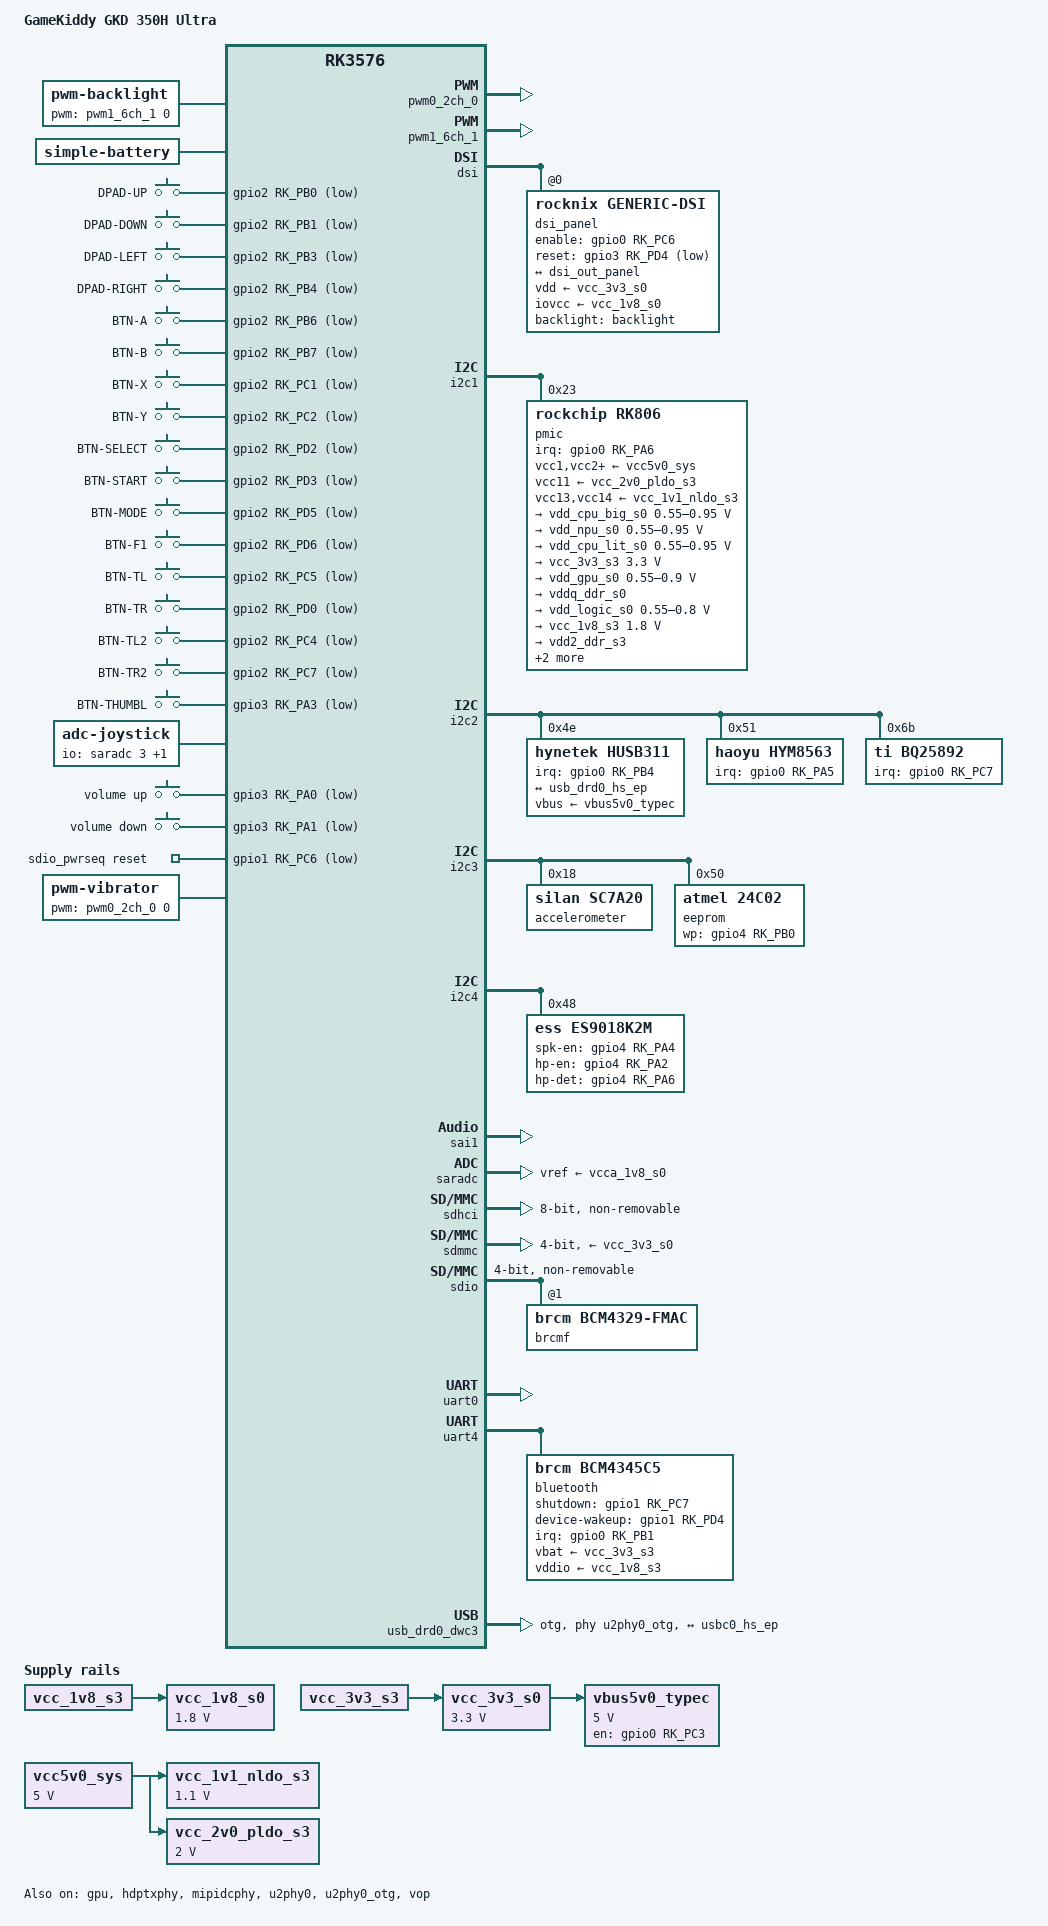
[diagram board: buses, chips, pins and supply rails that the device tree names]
// SPDX-License-Identifier: (GPL-2.0+ OR MIT)
/*
 * GameKiddy GKD 350H Ultra (Rockchip RK3576S)
 *
 * Mainline device tree for ROCKNIX's mainline kernel. Derived from the
 * vendor (Rockchip BSP 6.1) device tree, laid out after ROCKNIX's
 * rk3576-anbernic-rg-vita-pro.dts.
 *
 * First milestone: boots, logs to the SD card, panel lights, input works.
 * Everything else is present but untested.
 *
 * Markers:
 *   unverified - guessed or adapted, not confirmed against hardware/stock
 *   TODO       - stock has something not mapped yet; stock value given
 */

/dts-v1/;

#include <dt-bindings/gpio/gpio.h>
#include <dt-bindings/input/linux-event-codes.h>
#include <dt-bindings/pinctrl/rockchip.h>
#include <dt-bindings/pwm/pwm.h>
#include <dt-bindings/soc/rockchip,vop2.h>
#include <dt-bindings/usb/pd.h>

#include "rk3576.dtsi"

/ {
	model = "GameKiddy GKD 350H Ultra";
	chassis-type = "handset";
	compatible = "gamekiddy,gkd-350h-ultra", "rockchip,rk3576";

	aliases {
		mmc0 = &sdhci;
		mmc1 = &sdmmc;
		mmc2 = &sdio;
	};

	chosen {
		/* stock fiq-debugger: serial-id 0 (uart0m0), 1500000 baud */
		stdout-path = "serial0:1500000n8";
	};

	/*
	 * TODO: stock reserves a 256 MiB CMA pool (linux,cma, 4 MiB aligned);
	 * left to the kernel cmdline / defconfig here.
	 */

	backlight: backlight {
		compatible = "pwm-backlight";
		/* stock: pwm@2add1000 (PWM1 ch1), 25000 ns, inverted */
		pwms = <&pwm1_6ch_1 0 25000 PWM_POLARITY_INVERTED>;
		/*
		 * Stock table is 0, then 40 x 40, then 41..255. Level 0 turns
		 * the backlight off; 1..215 interpolate 40..255.
		 */
		brightness-levels = <40 255>;
		num-interpolated-steps = <215>;
		/* stock default 190/255 */
		default-brightness-level = <150>;
	};

	battery: battery {
		compatible = "simple-battery";
		charge-full-design-microamp-hours = <5000000>;
		/* 5000 mAh x 3.7 V nominal */
		energy-full-design-microwatt-hours = <18500000>;
		/* stock bq25892 ti,battery-regulation-voltage */
		constant-charge-voltage-max-microvolt = <4400000>;
		voltage-max-design-microvolt = <4400000>;
		voltage-min-design-microvolt = <3000000>; /* unverified */
		/* stock bq25892 charge/precharge/termination currents */
		constant-charge-current-max-microamp = <3100000>;
		precharge-current-microamp = <130000>;
		charge-term-current-microamp = <66000>;
	};

	/*
	 * Gamepad. Stock uses a custom "gamekiddy-joypad" driver (gpio buttons
	 * plus two saradc channels for the single stick). Mainline splits it
	 * into gpio-keys and adc-joystick; ROCKNIX would usually merge the two
	 * into one virtual pad with inputplumber.
	 * Stock identity: name "gkd_atom_joypad", vendor 0x0001,
	 * product 0x2103, version 0x0100.
	 */
	gamepad_keys: gamepad-keys {
		compatible = "gpio-keys";
		pinctrl-names = "default";
		pinctrl-0 = <&btn_pins>;

		button-dpad-up {
			label = "DPAD-UP";
			gpios = <&gpio2 RK_PB0 GPIO_ACTIVE_LOW>;
			linux,code = <BTN_DPAD_UP>;
		};

		button-dpad-down {
			label = "DPAD-DOWN";
			gpios = <&gpio2 RK_PB1 GPIO_ACTIVE_LOW>;
			linux,code = <BTN_DPAD_DOWN>;
		};

		button-dpad-left {
			label = "DPAD-LEFT";
			gpios = <&gpio2 RK_PB3 GPIO_ACTIVE_LOW>;
			linux,code = <BTN_DPAD_LEFT>;
		};

		button-dpad-right {
			label = "DPAD-RIGHT";
			gpios = <&gpio2 RK_PB4 GPIO_ACTIVE_LOW>;
			linux,code = <BTN_DPAD_RIGHT>;
		};

		button-a {
			label = "BTN-A";
			gpios = <&gpio2 RK_PB6 GPIO_ACTIVE_LOW>;
			linux,code = <BTN_EAST>;
		};

		button-b {
			label = "BTN-B";
			gpios = <&gpio2 RK_PB7 GPIO_ACTIVE_LOW>;
			linux,code = <BTN_SOUTH>;
		};

		button-x {
			label = "BTN-X";
			gpios = <&gpio2 RK_PC1 GPIO_ACTIVE_LOW>;
			linux,code = <BTN_NORTH>;
		};

		button-y {
			label = "BTN-Y";
			gpios = <&gpio2 RK_PC2 GPIO_ACTIVE_LOW>;
			linux,code = <BTN_WEST>;
		};

		button-select {
			label = "BTN-SELECT";
			gpios = <&gpio2 RK_PD2 GPIO_ACTIVE_LOW>;
			linux,code = <BTN_SELECT>;
		};

		button-start {
			label = "BTN-START";
			gpios = <&gpio2 RK_PD3 GPIO_ACTIVE_LOW>;
			linux,code = <BTN_START>;
		};

		/* stock label "BTN_F" */
		button-mode {
			label = "BTN-MODE";
			gpios = <&gpio2 RK_PD5 GPIO_ACTIVE_LOW>;
			linux,code = <BTN_MODE>;
		};

		/* stock label "F1" */
		button-f1 {
			label = "BTN-F1";
			gpios = <&gpio2 RK_PD6 GPIO_ACTIVE_LOW>;
			linux,code = <BTN_TRIGGER_HAPPY1>;
		};

		button-l1 {
			label = "BTN-TL";
			gpios = <&gpio2 RK_PC5 GPIO_ACTIVE_LOW>;
			linux,code = <BTN_TL>;
		};

		button-r1 {
			label = "BTN-TR";
			gpios = <&gpio2 RK_PD0 GPIO_ACTIVE_LOW>;
			linux,code = <BTN_TR>;
		};

		button-l2 {
			label = "BTN-TL2";
			gpios = <&gpio2 RK_PC4 GPIO_ACTIVE_LOW>;
			linux,code = <BTN_TL2>;
		};

		button-r2 {
			label = "BTN-TR2";
			gpios = <&gpio2 RK_PC7 GPIO_ACTIVE_LOW>;
			linux,code = <BTN_TR2>;
		};

		button-thumbl {
			label = "BTN-THUMBL";
			gpios = <&gpio3 RK_PA3 GPIO_ACTIVE_LOW>;
			linux,code = <BTN_THUMBL>;
		};
	};

	/*
	 * Stock: io-channels saradc 3 (joy1_x) and 4 (joy1_y),
	 * button-adc-x/y-range 1800 (reported -900..899), scale 2,
	 * deadzone 20, fuzz 32, flat 32, poll 10 ms.
	 * adc-joystick reports raw 12-bit saradc counts instead of a centred
	 * value, so the stock -900..899 cannot be used as-is. The stock driver
	 * reads millivolts (1.8 V vref), multiplies by its scale of 2 and clamps
	 * to +-900 around the boot-time centre, i.e. full deflection is about
	 * +-450 mV = +-1024 counts around mid-scale.
	 */
	joystick: adc-joystick {
		compatible = "adc-joystick";
		io-channels = <&saradc 3>, <&saradc 4>;
		poll-interval = <10>;
		#address-cells = <1>;
		#size-cells = <0>;

		axis@0 {
			reg = <0>;
			linux,code = <ABS_X>;
			/* unverified: centred estimate; TODO: axis direction (swap to invert) */
			abs-range = <1024 3072>;
			abs-fuzz = <32>;
			abs-flat = <32>;
		};

		axis@1 {
			reg = <1>;
			linux,code = <ABS_Y>;
			/* unverified: centred estimate; TODO: axis direction (swap to invert) */
			abs-range = <1024 3072>;
			abs-fuzz = <32>;
			abs-flat = <32>;
		};
	};

	gpio_keys: gpio-keys {
		compatible = "gpio-keys";
		autorepeat;
		pinctrl-names = "default";
		pinctrl-0 = <&volume_gpio>;

		vol-up-key {
			gpios = <&gpio3 RK_PA0 GPIO_ACTIVE_LOW>;
			label = "volume up";
			linux,code = <KEY_VOLUMEUP>;
		};

		vol-down-key {
			gpios = <&gpio3 RK_PA1 GPIO_ACTIVE_LOW>;
			label = "volume down";
			linux,code = <KEY_VOLUMEDOWN>;
		};
	};

	/*
	 * The RK3576 PWM controllers are not in rk3576.dtsi yet; these follow
	 * the template (ROCKNIX rockchip-mfpwm + pwm-rockchip-v4 driver).
	 */
	pwm0_2ch_0: pwm@27330000 {
		compatible = "rockchip,rk3576-pwm";
		reg = <0x0 0x27330000 0x0 0x1000>;
		interrupts = <GIC_SPI 100 IRQ_TYPE_LEVEL_HIGH>;
		#pwm-cells = <3>;
		pinctrl-names = "default";
		pinctrl-0 = <&pwm0m0_ch0>;
		clocks = <&cru CLK_PMU1PWM>, <&cru PCLK_PMU1PWM>,
			 <&cru CLK_PMU1PWM_OSC>, <&cru CLK_PMU1PWM_RC>;
		clock-names = "pwm", "pclk", "osc", "rc";
		status = "okay";
	};

	pwm1_6ch_1: pwm@2add1000 {
		compatible = "rockchip,rk3576-pwm";
		reg = <0x0 0x2add1000 0x0 0x1000>;
		interrupts = <GIC_SPI 103 IRQ_TYPE_LEVEL_HIGH>;
		#pwm-cells = <3>;
		pinctrl-names = "default";
		pinctrl-0 = <&pwm1m0_ch1>;
		clocks = <&cru CLK_PWM1>, <&cru PCLK_PWM1>,
			 <&cru CLK_OSC_PWM1>, <&cru CLK_RC_PWM1>;
		clock-names = "pwm", "pclk", "osc", "rc";
		status = "okay";
	};

	sdio_pwrseq: sdio-pwrseq {
		compatible = "mmc-pwrseq-simple";
		/*
		 * unverified: stock does not list the 32k clock, but the AP6256
		 * needs LPO and mainline would gate an unused hym8563 CLKOUT.
		 * Same wiring as the Rockchip reference (ArmSoM Sige5).
		 */
		clocks = <&hym8563>;
		clock-names = "ext_clock";
		pinctrl-names = "default";
		pinctrl-0 = <&wifi_poweren_gpio>;
		post-power-on-delay-ms = <200>;
		reset-gpios = <&gpio1 RK_PC6 GPIO_ACTIVE_LOW>;
	};

	/* untested: no ES9018K2M driver in mainline yet */
	sound: sound {
		compatible = "simple-audio-card";
		/* stock: rockchip,multicodecs-card "rockchip-es9018" */
		simple-audio-card,name = "rockchip-es9018";
		simple-audio-card,format = "i2s";
		simple-audio-card,mclk-fs = <256>;
		/*
		 * TODO: stock card also has pre-power-on-delay-ms 30,
		 * post-power-down-delay-ms 40, keyup-threshold-microvolt 1800000,
		 * poll-interval 100 (no io-channels, so no headset keys).
		 */

		simple-audio-card,cpu {
			sound-dai = <&sai1>;
			/* 32-bit slots whatever the sample size: the DAC is set to 32-bit I2S (reg 1). */
			dai-tdm-slot-num = <2>;
			dai-tdm-slot-width = <32>;
		};

		simple-audio-card,codec {
			sound-dai = <&es9018k2m>;
		};
	};

	vbus5v0_typec: regulator-vbus5v0-typec {
		compatible = "regulator-fixed";
		regulator-name = "vbus5v0_typec";
		/*
		 * unverified: stock declares 3.3 V (min/max 3300000) with
		 * vin vcc_3v3_s0, which looks copy-pasted; the switch is
		 * gpio0 PC3 "usb-otg0-pwren", probably the bq25892 OTG pin.
		 */
		regulator-min-microvolt = <5000000>;
		regulator-max-microvolt = <5000000>;
		enable-active-high;
		gpio = <&gpio0 RK_PC3 GPIO_ACTIVE_HIGH>;
		pinctrl-names = "default";
		pinctrl-0 = <&usb_otg0_pwren>;
		vin-supply = <&vcc_3v3_s0>;
	};

	vcc5v0_sys: regulator-vcc5v0-sys {
		compatible = "regulator-fixed";
		regulator-name = "vcc_sys";
		regulator-always-on;
		regulator-boot-on;
		regulator-min-microvolt = <5000000>;
		regulator-max-microvolt = <5000000>;
	};

	vcc_1v1_nldo_s3: regulator-vcc-1v1-nldo-s3 {
		compatible = "regulator-fixed";
		regulator-name = "vcc_1v1_nldo_s3";
		regulator-always-on;
		regulator-boot-on;
		regulator-min-microvolt = <1100000>;
		regulator-max-microvolt = <1100000>;
		vin-supply = <&vcc5v0_sys>;
	};

	vcc_1v8_s0: regulator-vcc-1v8-s0 {
		compatible = "regulator-fixed";
		regulator-name = "vcc_1v8_s0";
		regulator-always-on;
		regulator-boot-on;
		regulator-min-microvolt = <1800000>;
		regulator-max-microvolt = <1800000>;
		vin-supply = <&vcc_1v8_s3>;
	};

	vcc_2v0_pldo_s3: regulator-vcc-2v0-pldo-s3 {
		compatible = "regulator-fixed";
		regulator-name = "vcc_2v0_pldo_s3";
		regulator-always-on;
		regulator-boot-on;
		regulator-min-microvolt = <2000000>;
		regulator-max-microvolt = <2000000>;
		vin-supply = <&vcc5v0_sys>;
	};

	vcc_3v3_s0: regulator-vcc-3v3-s0 {
		compatible = "regulator-fixed";
		regulator-name = "vcc_3v3_s0";
		regulator-always-on;
		regulator-boot-on;
		regulator-min-microvolt = <3300000>;
		regulator-max-microvolt = <3300000>;
		vin-supply = <&vcc_3v3_s3>;
	};

	vibrator: vibrator {
		compatible = "pwm-vibrator";
		/* stock: pwm@27330000 (PWM0 ch0), period 200 ms, normal polarity */
		pwms = <&pwm0_2ch_0 0 200000000 0>;
		pwm-names = "enable";
		/* stock value; only used with a "direction" pwm */
		direction-duty-cycle-ns = <200000000>;
	};
};

&cpu_b0 {
	cpu-supply = <&vdd_cpu_big_s0>;
};

&cpu_b1 {
	cpu-supply = <&vdd_cpu_big_s0>;
};

&cpu_b2 {
	cpu-supply = <&vdd_cpu_big_s0>;
};

&cpu_b3 {
	cpu-supply = <&vdd_cpu_big_s0>;
};

&cpu_l0 {
	cpu-supply = <&vdd_cpu_lit_s0>;
};

&cpu_l1 {
	cpu-supply = <&vdd_cpu_lit_s0>;
};

&cpu_l2 {
	cpu-supply = <&vdd_cpu_lit_s0>;
};

&cpu_l3 {
	cpu-supply = <&vdd_cpu_lit_s0>;
};

&dsi {
	status = "okay";
	#address-cells = <1>;
	#size-cells = <0>;

	dsi_panel: panel@0 {
		compatible = "rocknix,generic-dsi";
		reg = <0>;
		backlight = <&backlight>;
		enable-gpios = <&gpio0 RK_PC6 GPIO_ACTIVE_HIGH>;
		reset-gpios = <&gpio3 RK_PD4 GPIO_ACTIVE_LOW>;
		/* stock also has avrman-te-gpio = gpio4 PA0 (TE, unused here) */
		pinctrl-names = "default";
		pinctrl-0 = <&lcd_en>, <&lcd_rst>, <&lcd_te_gpio>;
		rotation = <270>;
		/*
		 * unverified: stock panel node has no supplies; both of these
		 * are always-on rails, given so the driver gets real regulators.
		 */
		vdd-supply = <&vcc_3v3_s0>;
		iovcc-supply = <&vcc_1v8_s0>;

		/*
		 * G/I lines as importpanel.py would produce them from the stock
		 * panel@0 (prepare 40, reset 60, init 80, enable 60 ms, ready 20;
		 * stock also has stbyb 20, disable 20, unprepare 20 ms, which
		 * this driver has no slot for). M line is our 60 Hz timing
		 * (stock timing0 is 172 MHz, hfp 150). Note the driver parses
		 * "wait=" as hex, so wait=120/40 sleep 288/64 ms (harmless).
		 * The odd 5-byte be01900f39 write is exactly what stock sends.
		 */
		panel_description =
			"G size=135,216 delays=40,60,80,60,20 format=rgb888 lanes=4 flags=0xe03",
			"M clock=169715 horizontal=1440,124,30,120 vertical=1600,30,10,10 default=1",
			"I seq=ff10", "I seq=fb01",
			"I seq=2a0000059f",
			"I seq=2b0000063f",
			"I seq=3500", "I seq=ba07", "I seq=bb13", "I seq=e500",
			"I seq=ff26", "I seq=fb01", "I seq=0200", "I seq=0380",
			"I seq=ff25", "I seq=fb01", "I seq=6260", "I seq=6500",
			"I seq=6607", "I seq=6756",
			"I seq=ffd0", "I seq=fb01", "I seq=0588",
			"I seq=ff10", "I seq=fb01", "I seq=c080",
			"I seq=be01900f39",
			"I seq=11 wait=120",
			"I seq=ff10",
			"I seq=29 wait=40";

		port {
			panel_in_dsi: endpoint {
				remote-endpoint = <&dsi_out_panel>;
			};
		};
	};
};

/* stock routes DSI from VOP video port 0 (route-dsi -> vp0 endpoint@0) */
&dsi_in {
	dsi_in_vp0: endpoint {
		remote-endpoint = <&vp0_out_dsi>;
	};
};

&dsi_out {
	dsi_out_panel: endpoint {
		remote-endpoint = <&panel_in_dsi>;
	};
};

&gpu {
	mali-supply = <&vdd_gpu_s0>;
	/* as in the template; rk3576.dtsi has no resets on the gpu node */
	resets = <&cru SRST_GPU>;
	status = "okay";
};

/*
 * HDMI and DP (USB-C alt mode, stock enables dp@27e40000 on VP2 via
 * the usbdp phy with all 4 lanes) are left disabled for now.
 * hdptxphy is enabled only because the VOP takes it as its
 * "pll_hdmiphy0" clock; with the provider disabled the VOP could defer.
 */
&hdptxphy {
	status = "okay"; /* unverified: may be unnecessary */
};

&i2c1 {
	status = "okay";

	pmic@23 {
		compatible = "rockchip,rk806";
		reg = <0x23>;
		#gpio-cells = <2>;
		gpio-controller;
		interrupt-parent = <&gpio0>;
		interrupts = <RK_PA6 IRQ_TYPE_LEVEL_LOW>;
		pinctrl-names = "default";
		pinctrl-0 = <&pmic_pins
				 &rk806_dvs1_null
				 &rk806_dvs2_null
				 &rk806_dvs3_null>;
		system-power-controller;
		/* stock pmic-reset-func = <1> */
		rockchip,reset-mode = <1>; /* unverified: BSP->mainline value mapping */
		/*
		 * TODO: stock BSP-only props: low_voltage_threshold 3000 mV,
		 * shutdown_voltage_threshold 2700 mV, shutdown_temperture_threshold
		 * 160, hotdie_temperture_threshold 115, pwron-on-time-500ms,
		 * buck5-feedback-disable; pinctrl "pmic-power-off" = dvs1_pwrdn.
		 */
		vcc1-supply = <&vcc5v0_sys>;
		vcc2-supply = <&vcc5v0_sys>;
		vcc3-supply = <&vcc5v0_sys>;
		vcc4-supply = <&vcc5v0_sys>;
		vcc5-supply = <&vcc5v0_sys>;
		vcc6-supply = <&vcc5v0_sys>;
		vcc7-supply = <&vcc5v0_sys>;
		vcc8-supply = <&vcc5v0_sys>;
		vcc9-supply = <&vcc5v0_sys>;
		vcc10-supply = <&vcc5v0_sys>;
		vcc11-supply = <&vcc_2v0_pldo_s3>;
		vcc12-supply = <&vcc5v0_sys>;
		vcc13-supply = <&vcc_1v1_nldo_s3>;
		vcc14-supply = <&vcc_1v1_nldo_s3>;
		vcca-supply = <&vcc5v0_sys>;

		rk806_dvs1_null: dvs1-null-pins {
			/* stock says gpio_pwrctrl2 here (typo); template uses pwrctrl1 */
			pins = "gpio_pwrctrl1";
			function = "pin_fun0";
		};

		rk806_dvs2_null: dvs2-null-pins {
			pins = "gpio_pwrctrl2";
			function = "pin_fun0";
		};

		rk806_dvs3_null: dvs3-null-pins {
			pins = "gpio_pwrctrl3";
			function = "pin_fun0";
		};

		/* stock regulator-init-microvolt values are not mainline props, dropped */
		regulators {
			vdd_cpu_big_s0: dcdc-reg1 {
				regulator-always-on;
				regulator-boot-on;
				regulator-enable-ramp-delay = <400>;
				regulator-min-microvolt = <550000>;
				regulator-max-microvolt = <950000>;
				regulator-name = "vdd_cpu_big_s0";
				regulator-ramp-delay = <12500>;
				regulator-state-mem {
					regulator-off-in-suspend;
				};
			};

			vdd_npu_s0: dcdc-reg2 {
				regulator-boot-on;
				regulator-enable-ramp-delay = <400>;
				regulator-min-microvolt = <550000>;
				regulator-max-microvolt = <950000>;
				regulator-name = "vdd_npu_s0";
				regulator-ramp-delay = <12500>;
				regulator-state-mem {
					regulator-off-in-suspend;
				};
			};

			vdd_cpu_lit_s0: dcdc-reg3 {
				regulator-always-on;
				regulator-boot-on;
				regulator-min-microvolt = <550000>;
				regulator-max-microvolt = <950000>;
				regulator-name = "vdd_cpu_lit_s0";
				regulator-ramp-delay = <12500>;
				regulator-state-mem {
					regulator-off-in-suspend;
					regulator-suspend-microvolt = <750000>;
				};
			};

			vcc_3v3_s3: dcdc-reg4 {
				regulator-always-on;
				regulator-boot-on;
				regulator-min-microvolt = <3300000>;
				regulator-max-microvolt = <3300000>;
				regulator-name = "vcc_3v3_s3";
				regulator-state-mem {
					regulator-on-in-suspend;
					regulator-suspend-microvolt = <3300000>;
				};
			};

			vdd_gpu_s0: dcdc-reg5 {
				/*
				 * Not always-on in stock; kept on as in the template so
				 * PD_GPU never loses its supply before panfrost binds.
				 */
				regulator-always-on;
				regulator-boot-on;
				regulator-enable-ramp-delay = <400>;
				regulator-min-microvolt = <550000>;
				regulator-max-microvolt = <900000>;
				regulator-name = "vdd_gpu_s0";
				regulator-ramp-delay = <12500>;
				regulator-state-mem {
					regulator-off-in-suspend;
					regulator-suspend-microvolt = <850000>;
				};
			};

			vddq_ddr_s0: dcdc-reg6 {
				regulator-always-on;
				regulator-boot-on;
				regulator-name = "vddq_ddr_s0";
				regulator-state-mem {
					regulator-off-in-suspend;
				};
			};

			vdd_logic_s0: dcdc-reg7 {
				regulator-always-on;
				regulator-boot-on;
				regulator-min-microvolt = <550000>;
				regulator-max-microvolt = <800000>;
				regulator-name = "vdd_logic_s0";
				regulator-state-mem {
					/*
					 * stock lists both off- and on-in-suspend;
					 * of_regulator gives on-in-suspend precedence
					 */
					regulator-on-in-suspend;
				};
			};

			vcc_1v8_s3: dcdc-reg8 {
				regulator-always-on;
				regulator-boot-on;
				regulator-min-microvolt = <1800000>;
				regulator-max-microvolt = <1800000>;
				regulator-name = "vcc_1v8_s3";
				regulator-state-mem {
					regulator-on-in-suspend;
					regulator-suspend-microvolt = <1800000>;
				};
			};

			vdd2_ddr_s3: dcdc-reg9 {
				regulator-always-on;
				regulator-boot-on;
				regulator-name = "vdd2_ddr_s3";
				regulator-state-mem {
					regulator-on-in-suspend;
				};
			};

			vdd_ddr_s0: dcdc-reg10 {
				regulator-always-on;
				regulator-boot-on;
				regulator-min-microvolt = <550000>;
				regulator-max-microvolt = <1200000>;
				regulator-name = "vdd_ddr_s0";
				regulator-state-mem {
					regulator-off-in-suspend;
				};
			};

			vcca_1v8_s0: pldo-reg1 {
				regulator-always-on;
				regulator-boot-on;
				regulator-min-microvolt = <1800000>;
				regulator-max-microvolt = <1800000>;
				regulator-name = "vcca_1v8_s0";
				regulator-state-mem {
					/* stock lists both off- and on-in-suspend; on wins */
					regulator-on-in-suspend;
				};
			};

			vcca1v8_pldo2_s0: pldo-reg2 {
				regulator-always-on;
				regulator-boot-on;
				regulator-min-microvolt = <1800000>;
				regulator-max-microvolt = <1800000>;
				regulator-name = "vcca1v8_pldo2_s0";
				regulator-state-mem {
					regulator-off-in-suspend;
				};
			};

			vdda_1v2_s0: pldo-reg3 {
				regulator-always-on;
				regulator-boot-on;
				regulator-min-microvolt = <1200000>;
				regulator-max-microvolt = <1200000>;
				regulator-name = "vdda_1v2_s0";
				regulator-state-mem {
					regulator-off-in-suspend;
				};
			};

			vcca3v3_codec: pldo-reg4 {
				regulator-always-on;
				regulator-boot-on;
				regulator-min-microvolt = <3300000>;
				regulator-max-microvolt = <3300000>;
				regulator-name = "vcca3v3_codec";
				regulator-state-mem {
					regulator-off-in-suspend;
				};
			};

			vccio_sd_s0: pldo-reg5 {
				regulator-always-on;
				regulator-boot-on;
				regulator-min-microvolt = <1800000>;
				regulator-max-microvolt = <3300000>;
				regulator-name = "vccio_sd_s0";
				regulator-state-mem {
					regulator-off-in-suspend;
				};
			};

			vcca1v8_pldo6_s3: pldo-reg6 {
				regulator-always-on;
				regulator-boot-on;
				regulator-min-microvolt = <1800000>;
				regulator-max-microvolt = <1800000>;
				regulator-name = "vcca1v8_pldo6_s3";
				regulator-state-mem {
					regulator-on-in-suspend;
					regulator-suspend-microvolt = <1800000>;
				};
			};

			vdd_0v75_s3: nldo-reg1 {
				regulator-always-on;
				regulator-boot-on;
				regulator-min-microvolt = <750000>;
				regulator-max-microvolt = <750000>;
				regulator-name = "vdd_0v75_s3";
				regulator-state-mem {
					regulator-on-in-suspend;
					regulator-suspend-microvolt = <750000>;
				};
			};

			vdda_ddr_pll_s0: nldo-reg2 {
				regulator-always-on;
				regulator-boot-on;
				regulator-min-microvolt = <850000>;
				regulator-max-microvolt = <850000>;
				regulator-name = "vdda_ddr_pll_s0";
				regulator-state-mem {
					regulator-off-in-suspend;
				};
			};

			/* stock runs this "0v75" rail at 837.5 mV */
			vdda0v75_hdmi_s0: nldo-reg3 {
				regulator-always-on;
				regulator-boot-on;
				regulator-min-microvolt = <837500>;
				regulator-max-microvolt = <837500>;
				regulator-name = "vdda0v75_hdmi_s0";
				regulator-state-mem {
					regulator-off-in-suspend;
				};
			};

			vdda_0v85_s0: nldo-reg4 {
				regulator-always-on;
				regulator-boot-on;
				regulator-min-microvolt = <850000>;
				regulator-max-microvolt = <850000>;
				regulator-name = "vdda_0v85_s0";
				regulator-state-mem {
					regulator-off-in-suspend;
				};
			};

			vdda_0v75_s0: nldo-reg5 {
				regulator-always-on;
				regulator-boot-on;
				regulator-min-microvolt = <750000>;
				regulator-max-microvolt = <750000>;
				regulator-name = "vdda_0v75_s0";
				regulator-state-mem {
					regulator-off-in-suspend;
				};
			};
		};
	};
};

&i2c2 {
	status = "okay";

	/* TODO: stock has a "shunwei,sh366103" fuel gauge at 0x55; no mainline driver */

	husb311: typec-port@4e {
		compatible = "hynetek,husb311", "richtek,rt1711h";
		reg = <0x4e>;
		interrupt-parent = <&gpio0>;
		interrupts = <RK_PB4 IRQ_TYPE_LEVEL_LOW>;
		pinctrl-names = "default";
		pinctrl-0 = <&usbc0_int>;
		vbus-supply = <&vbus5v0_typec>;

		/* untested */
		connector {
			compatible = "usb-c-connector";
			label = "USB-C";
			data-role = "dual";
			power-role = "dual";
			try-power-role = "sink";
			/* stock value: 1 W */
			op-sink-microwatt = <1000000>;
			sink-pdos = <PDO_FIXED(5000, 3000, PDO_FIXED_USB_COMM)
				     PDO_FIXED(9000, 3000, PDO_FIXED_USB_COMM)
				     PDO_FIXED(12000, 3000, PDO_FIXED_USB_COMM)>;
			source-pdos = <PDO_FIXED(5000, 3000, PDO_FIXED_USB_COMM)>;

			/*
			 * TODO: stock advertises DP alt mode (svid 0xff01,
			 * vdo 0xffffffff) and wires connector port@0/@1 to the
			 * usbdp phy (orientation-switch, sbu1/2-dc gpio4 PC4/PC5,
			 * dp-lane-mux 0 1 2 3, maximum-speed high-speed). Add the
			 * altmodes node, port@1/@2 and &usbdp_phy with DP.
			 */

			ports {
				#address-cells = <1>;
				#size-cells = <0>;

				port@0 {
					reg = <0>;
					usbc0_hs_ep: endpoint {
						remote-endpoint = <&usb_drd0_hs_ep>;
					};
				};

				/* SS lanes: go to the usbdp phy (DP alt mode); TODO above */
				port@1 {
					reg = <1>;
				};
			};
		};
	};

	hym8563: rtc@51 {
		compatible = "haoyu,hym8563";
		reg = <0x51>;
		#clock-cells = <0>;
		clock-output-names = "hym8563";
		interrupt-parent = <&gpio0>;
		interrupts = <RK_PA5 IRQ_TYPE_LEVEL_LOW>;
		pinctrl-names = "default";
		pinctrl-0 = <&hym8563_int>;
		wakeup-source;
		/* TODO: stock clock-frequency = <32768> (not in the mainline binding) */
	};

	/* untested */
	bq25892: charger@6b {
		compatible = "ti,bq25892", "ti,bq25890";
		reg = <0x6b>;
		interrupt-parent = <&gpio0>;
		interrupts = <RK_PC7 IRQ_TYPE_EDGE_FALLING>;
		pinctrl-names = "default";
		pinctrl-0 = <&bq25890_irq>;
		monitored-battery = <&battery>;
		ti,battery-regulation-voltage = <4400000>;
		ti,charge-current = <3100000>;
		ti,termination-current = <66000>;
		ti,precharge-current = <130000>;
		ti,minimum-sys-voltage = <3500000>;
		ti,boost-voltage = <5200000>;
		ti,boost-max-current = <1600000>;
	};
};

&i2c3 {
	status = "okay";

	/* untested; stock: gs_sc7a20, polled (irq_enable 0), irq gpio4 PB3 */
	accelerometer@18 {
		compatible = "silan,sc7a20";
		reg = <0x18>;
		pinctrl-names = "default";
		pinctrl-0 = <&sensor_gpio>;
		/* TODO: stock layout = <1>; translate to a mount-matrix */
	};

	/* untested */
	eeprom@50 {
		compatible = "atmel,24c02";
		reg = <0x50>;
		pinctrl-names = "default";
		pinctrl-0 = <&eeprom_wp_gpio>;
		wp-gpios = <&gpio4 RK_PB0 GPIO_ACTIVE_HIGH>;
	};
};

&i2c4 {
	pinctrl-names = "default";
	pinctrl-0 = <&i2c4m3_xfer>;
	status = "okay";

	/* BasedOS's driver (tools/mainline/drivers/es9018k2m.c). */
	es9018k2m: audio-codec@48 {
		compatible = "ess,es9018k2m";
		reg = <0x48>;
		#sound-dai-cells = <0>;
		/*
		 * Stock's avrman-spk-con, avrman-hp-con and avrman-hp-det. On stock with no
		 * headphones: hp-det reads low, spk-con is driven high, hp-con low.
		 */
		spk-en-gpios = <&gpio4 RK_PA4 GPIO_ACTIVE_HIGH>;
		hp-en-gpios = <&gpio4 RK_PA2 GPIO_ACTIVE_HIGH>;
		hp-det-gpios = <&gpio4 RK_PA6 GPIO_ACTIVE_HIGH>;
	};
};

&mipidcphy {
	status = "okay";
};

&pinctrl {
	bluetooth {
		bt_reg_on: bt-reg-on {
			rockchip,pins = <1 RK_PC7 RK_FUNC_GPIO &pcfg_pull_none>; /* unverified pull */
		};

		bt_wake: bt-wake {
			rockchip,pins = <1 RK_PD4 RK_FUNC_GPIO &pcfg_pull_none>; /* unverified pull */
		};

		bt_wake_host_irq: bt-wake-host-irq {
			rockchip,pins = <0 RK_PB1 RK_FUNC_GPIO &pcfg_pull_down>; /* unverified pull */
		};
	};

	btns {
		btn_pins: btn-pins {
			rockchip,pins =
				<2 RK_PB0 RK_FUNC_GPIO &pcfg_pull_up>,
				<2 RK_PB1 RK_FUNC_GPIO &pcfg_pull_up>,
				<2 RK_PB3 RK_FUNC_GPIO &pcfg_pull_up>,
				<2 RK_PB4 RK_FUNC_GPIO &pcfg_pull_up>,
				<2 RK_PB6 RK_FUNC_GPIO &pcfg_pull_up>,
				<2 RK_PB7 RK_FUNC_GPIO &pcfg_pull_up>,
				<2 RK_PC1 RK_FUNC_GPIO &pcfg_pull_up>,
				<2 RK_PC2 RK_FUNC_GPIO &pcfg_pull_up>,
				<2 RK_PD5 RK_FUNC_GPIO &pcfg_pull_up>,
				<2 RK_PD6 RK_FUNC_GPIO &pcfg_pull_up>,
				<2 RK_PD3 RK_FUNC_GPIO &pcfg_pull_up>,
				<2 RK_PD2 RK_FUNC_GPIO &pcfg_pull_up>,
				<2 RK_PC4 RK_FUNC_GPIO &pcfg_pull_up>,
				<2 RK_PC5 RK_FUNC_GPIO &pcfg_pull_up>,
				<2 RK_PC7 RK_FUNC_GPIO &pcfg_pull_up>,
				<2 RK_PD0 RK_FUNC_GPIO &pcfg_pull_up>,
				<3 RK_PA3 RK_FUNC_GPIO &pcfg_pull_up>;
		};
	};

	eeprom {
		eeprom_wp_gpio: eeprom-wp-gpio {
			rockchip,pins = <4 RK_PB0 RK_FUNC_GPIO &pcfg_pull_up>;
		};
	};

	hym8563 {
		hym8563_int: hym8563-int {
			rockchip,pins = <0 RK_PA5 RK_FUNC_GPIO &pcfg_pull_up>;
		};
	};

	keys {
		volume_gpio: volume-gpio {
			rockchip,pins =
				<3 RK_PA0 RK_FUNC_GPIO &pcfg_pull_up>,
				<3 RK_PA1 RK_FUNC_GPIO &pcfg_pull_up>;
		};
	};

	lcd {
		lcd_en: lcd-en {
			rockchip,pins = <0 RK_PC6 RK_FUNC_GPIO &pcfg_pull_none>; /* unverified pull */
		};

		lcd_rst: lcd-rst {
			rockchip,pins = <3 RK_PD4 RK_FUNC_GPIO &pcfg_pull_none>; /* unverified pull */
		};

		lcd_te_gpio: lcd-te-gpio {
			rockchip,pins = <4 RK_PA0 RK_FUNC_GPIO &pcfg_pull_down>;
		};
	};

	sensor {
		sensor_gpio: sensor-gpio {
			rockchip,pins = <4 RK_PB3 RK_FUNC_GPIO &pcfg_pull_down>;
		};
	};

	usb {
		bq25890_irq: bq25890-irq {
			rockchip,pins = <0 RK_PC7 RK_FUNC_GPIO &pcfg_pull_up>;
		};

		usbc0_int: usbc0-int {
			rockchip,pins = <0 RK_PB4 RK_FUNC_GPIO &pcfg_pull_up>;
		};

		usb_otg0_pwren: usb-otg0-pwren {
			rockchip,pins = <0 RK_PC3 RK_FUNC_GPIO &pcfg_pull_down>;
		};
	};

	wireless-wlan {
		wifi_host_wake_irq: wifi-host-wake-irq {
			rockchip,pins = <0 RK_PB0 RK_FUNC_GPIO &pcfg_pull_down>;
		};

		wifi_poweren_gpio: wifi-poweren-gpio {
			rockchip,pins = <1 RK_PC6 RK_FUNC_GPIO &pcfg_pull_up>;
		};
	};
};

/* stock es9018-sound card's rockchip,cpu is sai@2a610000 = SAI1, on its m1 pins */
&sai1 {
	pinctrl-names = "default";
	pinctrl-0 = <&sai1m1_lrck
		     &sai1m1_sclk
		     &sai1m1_sdo0>;
	status = "okay";
};

&saradc {
	vref-supply = <&vcca_1v8_s0>;
	status = "okay";
};

&sdhci {
	bus-width = <8>;
	full-pwr-cycle-in-suspend;
	mmc-hs400-1_8v;
	mmc-hs400-enhanced-strobe;
	no-sd;
	no-sdio;
	non-removable;
	status = "okay";
};

/*
 * SD card. Default pinctrl from rk3576.dtsi matches stock: native card
 * detect (sdmmc0_det, gpio0 PA7) and the controller-driven power switch
 * (sdmmc0_pwren, gpio0 PB6).
 */
&sdmmc {
	bus-width = <4>;
	cap-mmc-highspeed;
	cap-sd-highspeed;
	disable-wp;
	max-frequency = <150000000>;
	no-mmc;
	no-sdio;
	sd-uhs-sdr50;
	sd-uhs-sdr104;
	vmmc-supply = <&vcc_3v3_s0>;
	vqmmc-supply = <&vccio_sd_s0>;
	status = "okay";
};

/* SDIO Wi-Fi: stock wifi_chip_type "ap6256" (BCM43456) */
&sdio {
	#address-cells = <1>;
	#size-cells = <0>;
	bus-width = <4>;
	cap-sd-highspeed;
	cap-sdio-irq;
	disable-wp;
	keep-power-in-suspend;
	max-frequency = <200000000>;
	mmc-pwrseq = <&sdio_pwrseq>;
	no-mmc;
	no-sd;
	non-removable;
	sd-uhs-sdr50;
	/* TODO: stock gives sdio no vmmc/vqmmc supply (sige5 uses vcc_3v3_s3/vcc_1v8_s3) */
	status = "okay";

	/* untested */
	/*
	 * In-band SDIO interrupts (cap-sdio-irq). With the out-of-band host-wake line (gpio0 PB0,
	 * level high, as stock) firmware events reached the host late or not at all: wpa_supplicant
	 * timed out on authentication, then saw "Associated" late, and pings mostly went unanswered.
	 * Stock's host-wake: gpio0 PB0, pinctrl wifi_host_wake_irq.
	 */
	brcmf: wifi@1 {
		compatible = "brcm,bcm4329-fmac";
		reg = <1>;
	};
};

&u2phy0 {
	status = "okay";
};

&u2phy0_otg {
	status = "okay";
};

&uart0 {
	status = "okay";
};

/* untested: Bluetooth half of the AP6256 */
&uart4 {
	pinctrl-names = "default";
	pinctrl-0 = <&uart4m1_xfer>, <&uart4m1_ctsn>, <&uart4m1_rtsn>;
	uart-has-rtscts;
	status = "okay";

	bluetooth {
		compatible = "brcm,bcm4345c5";
		clocks = <&hym8563>; /* unverified, as for the Wi-Fi pwrseq */
		clock-names = "lpo";
		/* stock BT,reset_gpio gpio1 PC7 (flag 0) = BT_REG_ON */
		shutdown-gpios = <&gpio1 RK_PC7 GPIO_ACTIVE_HIGH>;
		/* stock BT,wake_gpio */
		device-wakeup-gpios = <&gpio1 RK_PD4 GPIO_ACTIVE_HIGH>;
		/* stock BT,wake_host_irq */
		interrupt-parent = <&gpio0>;
		interrupts = <RK_PB1 IRQ_TYPE_LEVEL_HIGH>;
		interrupt-names = "host-wakeup";
		pinctrl-names = "default";
		pinctrl-0 = <&bt_reg_on>, <&bt_wake>, <&bt_wake_host_irq>;
		max-speed = <1500000>; /* unverified */
		vbat-supply = <&vcc_3v3_s3>; /* unverified */
		vddio-supply = <&vcc_1v8_s3>; /* unverified */
	};
};

/*
 * USB-C OTG on DRD0. Stock runs the usbdp phy at high-speed only (its
 * lanes go to DP alt mode), so the controller uses just the USB2 phy here.
 * Stock leaves DRD1 disabled (u2phy1 on, its otg-port off), so no second
 * USB host.
 */
&usb_drd0_dwc3 {
	dr_mode = "otg";
	maximum-speed = "high-speed";
	phys = <&u2phy0_otg>;
	phy-names = "usb2-phy";
	usb-role-switch;
	status = "okay";

	port {
		usb_drd0_hs_ep: endpoint {
			remote-endpoint = <&usbc0_hs_ep>;
		};
	};
};

&vop {
	/*
	 * 1188 MHz / 7 = 169.714 MHz, the panel's 60 Hz mode (checked: dclk_vp0 169714286).
	 * DCLK_VP0_SRC is CLK_SET_RATE_NO_REPARENT, so the parent is fixed here.
	 */
	assigned-clocks = <&cru PLL_VPLL>, <&cru DCLK_VP0_SRC>;
	assigned-clock-parents = <0>, <&cru PLL_VPLL>;
	assigned-clock-rates = <1188000000>, <0>;
	/*
	 * The stock U-Boot leaves its splash screen running through the VOP's IOMMU; BasedOS's
	 * VOP2 patch (tools/mainline/patches) resets the VOP with these before attaching it.
	 */
	resets = <&cru SRST_A_VOP>, <&cru SRST_H_VOP>, <&cru SRST_D_VP0>,
		 <&cru SRST_D_VP1>, <&cru SRST_D_VP2>;
	status = "okay";
};

&vop_mmu {
	status = "okay";
};

&vp0 {
	vp0_out_dsi: endpoint@ROCKCHIP_VOP2_EP_MIPI0 {
		reg = <ROCKCHIP_VOP2_EP_MIPI0>;
		remote-endpoint = <&dsi_in_vp0>;
	};
};
